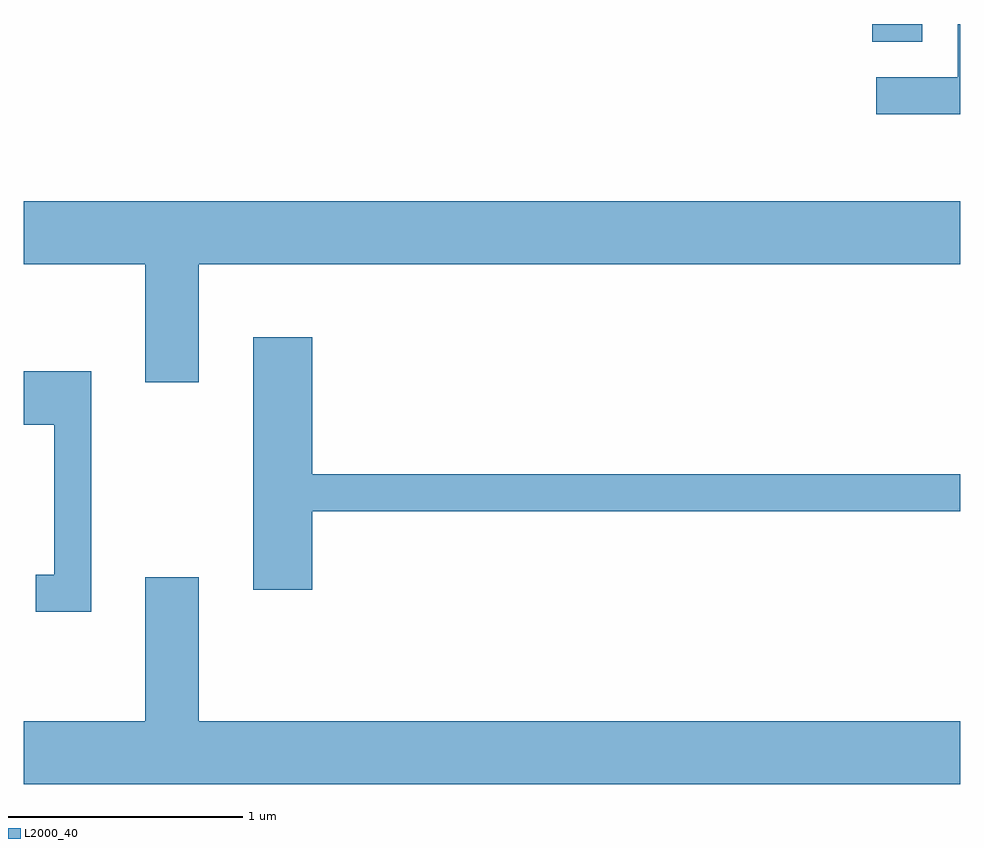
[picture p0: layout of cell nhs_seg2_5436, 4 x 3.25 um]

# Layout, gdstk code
import gdstk
lib = gdstk.Library(unit=1e-6, precision=1e-09)
def R(c, l, rs):  # rectangles x0, y0, x1, y1
    for r in rs: c.add(gdstk.rectangle(r[:2], r[2:], *l))
def P(c, l, *ps):  # polygons
    for p in ps: c.add(gdstk.Polygon(p, *l))
L2000_40 = (2000, 40)

nhs_seg2_5436 = lib.new_cell('nhs_seg2_5436')
R(nhs_seg2_5436, L2000_40, [(349.236,1033.726,349.449,1033.802)])
P(nhs_seg2_5436, L2000_40, [(349.611,1033.802),(349.601,1033.802),(349.601,1033.574),(349.253,1033.574),(349.253,1033.416),(349.611,1033.416)],
  [(346.359,1032.776),(349.611,1032.776),(349.611,1033.044),(345.611,1033.044),(345.611,1032.776),(346.131,1032.776),(346.131,1032.271),(346.359,1032.271)],
  [(346.844,1031.721),(349.611,1031.721),(349.611,1031.879),(346.844,1031.879),(346.844,1032.464),(346.591,1032.464),(346.591,1031.386),(346.844,1031.386)],
  [(345.899,1032.319),(345.611,1032.319),(345.611,1032.091),(345.741,1032.091),(345.741,1031.449),(345.663,1031.449),(345.663,1031.291),(345.899,1031.291)],
  [(349.611,1030.824),(346.359,1030.824),(346.359,1031.439),(346.131,1031.439),(346.131,1030.824),(345.611,1030.824),(345.611,1030.556),(349.611,1030.556)])

lib.write_gds('nhs_seg2_5436.gds')
